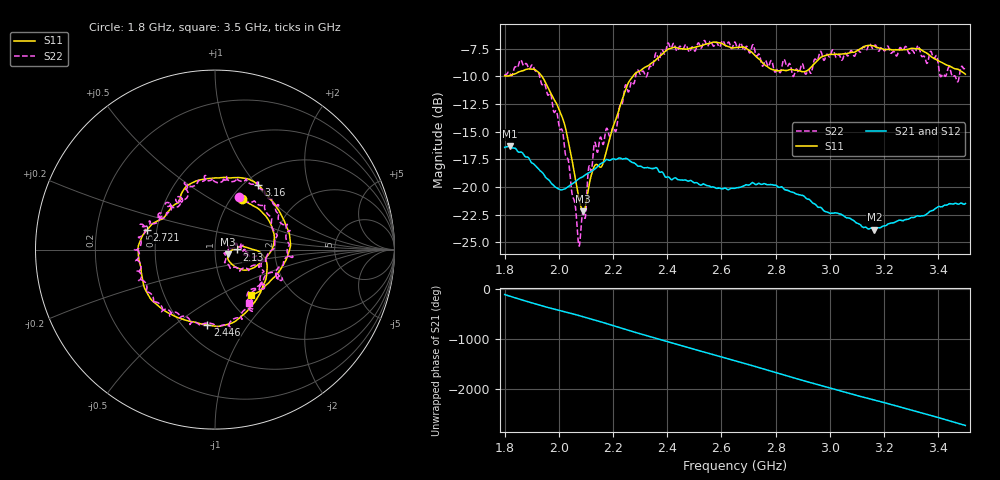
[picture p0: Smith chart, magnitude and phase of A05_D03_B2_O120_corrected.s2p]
! Created with skrf 1.9.0 (http://scikit-rf.org).
# Hz S RI R 50.0
!freq ReS11 ImS11 ReS21 ImS21 ReS12 ImS12 ReS22 ImS22
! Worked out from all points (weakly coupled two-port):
!   1601 points, 1.8 GHz to 3.5 GHz, reference 50 ohm
!   highest |S21| = -16.33 dB at 1.818 GHz (marker M1); lowest = -23.9 dB at 3.164 GHz (marker M2)
!   lowest |S11| = -22.2 dB at 2.09 GHz (marker M3), VSWR 1.17, Z = 57.7 - j3.14 ohm
!   |S11| at or under -10 dB: 1.938 GHz to 2.273 GHz (335.5 MHz wide, 15.9 % of centre)
!   |S22| runs from -25.4 to -6.8 dB; largest |S21 - S12| = 0.0026
!   S11 on the Smith chart (normalised r, x): 1.8 GHz: 1.12, +0.70; 2.13 GHz: 1.28, +0.00; 2.446 GHz: 0.65, -0.66; 2.721 GHz: 0.44, +0.11; 3.16 GHz: 1.15, +1.02; 3.5 GHz: 1.26, -0.72
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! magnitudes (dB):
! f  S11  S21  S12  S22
! 1.8 GHz  -10.0  -16.4  -16.4  -9.8
! 1.818 GHz  -9.9  -16.3  -16.3  -9.7
! 1.903 GHz  -9.4  -17.9  -17.9  -9.0
! 1.968 GHz  -11.4  -19.5  -19.6  -11.5
! 2.015 GHz  -13.8  -20.2  -20.3  -15.1
! 2.072 GHz  -20.7  -19.3  -19.3  -25.0
! 2.084 GHz  -21.9  -19.2  -19.1  -23.1
! 2.09 GHz  -22.2  -19.1  -19.1  -22.3
! 2.13 GHz  -18.2  -18.4  -18.4  -16.1
! 2.163 GHz  -17.8  -17.8  -17.7  -16.2
! 2.26 GHz  -10.4  -17.6  -17.6  -11.2
! 2.367 GHz  -8.3  -18.5  -18.5  -8.5
! 2.446 GHz  -7.5  -19.4  -19.4  -7.3
! 2.65 GHz  -7.4  -20.1  -20.1  -6.9
! 2.721 GHz  -8.1  -19.7  -19.6  -7.5
! 2.802 GHz  -9.5  -19.9  -19.9  -9.5
! 2.934 GHz  -9.1  -21.4  -21.4  -9.5
! 3.16 GHz  -7.2  -23.8  -23.8  -7.4
! 3.164 GHz  -7.3  -23.9  -23.8  -7.2
! 3.217 GHz  -7.6  -23.3  -23.3  -7.4
! 3.468 GHz  -9.3  -21.5  -21.5  -10.4
! 3.5 GHz  -9.8  -21.5  -21.5  -9.1
